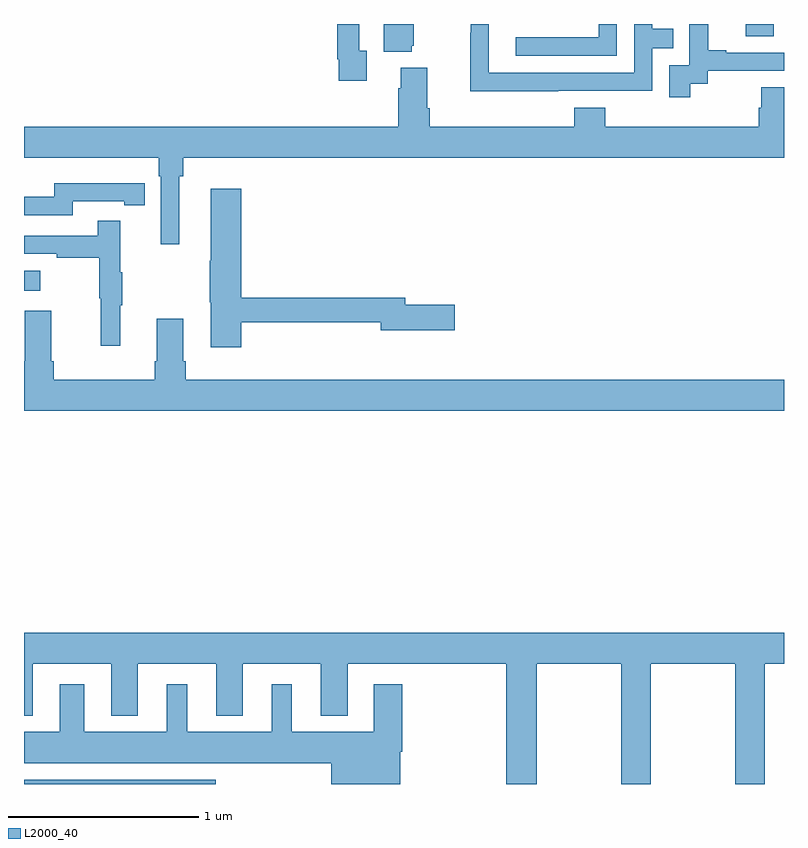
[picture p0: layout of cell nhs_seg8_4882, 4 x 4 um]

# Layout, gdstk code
import gdstk
lib = gdstk.Library(unit=1e-6, precision=1e-09)
def R(c, l, rs):  # rectangles x0, y0, x1, y1
    for r in rs: c.add(gdstk.rectangle(r[:2], r[2:], *l))
def P(c, l, *ps):  # polygons
    for p in ps: c.add(gdstk.Polygon(p, *l))
L2000_40 = (2000, 40)

nhs_seg8_4882 = lib.new_cell('nhs_seg8_4882')
R(nhs_seg8_4882, L2000_40, [(407,1083.9,408.01,1083.922), (407,1086.497,407.086,1086.601), (410.799,1087.836,410.946,1087.9)])
P(nhs_seg8_4882, L2000_40, [(408.805,1087.758),(408.765,1087.758),(408.765,1087.9),(408.649,1087.9),(408.649,1087.714),(408.657,1087.714),(408.657,1087.602),(408.805,1087.602)],
  [(410.121,1087.9),(410.025,1087.9),(410.025,1087.83),(409.587,1087.83),(409.587,1087.734),(410.121,1087.734)],
  [(409.04,1087.785),(409.051,1087.785),(409.051,1087.9),(408.893,1087.9),(408.893,1087.754),(409.04,1087.754)],
  [(409.811,1087.548),(410.307,1087.548),(410.307,1087.773),(410.417,1087.773),(410.417,1087.874),(410.307,1087.874),(410.307,1087.9),(410.211,1087.9),(410.211,1087.644),(409.446,1087.644),(409.446,1087.9),(409.35,1087.9),(409.35,1087.853),(409.348,1087.853),(409.348,1087.547),(409.811,1087.547)],
  [(410.506,1087.585),(410.598,1087.585),(410.598,1087.653),(411,1087.653),(411,1087.749),(410.695,1087.749),(410.695,1087.762),(410.6,1087.762),(410.6,1087.9),(410.502,1087.9),(410.502,1087.683),(410.397,1087.683),(410.397,1087.515),(410.506,1087.515)],
  [(407.818,1087.1),(407.837,1087.1),(407.837,1087.196),(411,1087.196),(411,1087.568),(410.879,1087.568),(410.879,1087.458),(410.867,1087.458),(410.867,1087.36),(410.06,1087.36),(410.06,1087.459),(409.895,1087.459),(409.895,1087.36),(409.136,1087.36),(409.136,1087.456),(409.123,1087.456),(409.123,1087.669),(408.983,1087.669),(408.983,1087.562),(408.971,1087.562),(408.971,1087.36),(407,1087.36),(407,1087.196),(407.708,1087.196),(407.708,1087.1),(407.721,1087.1),(407.721,1086.741),(407.818,1086.741)],
  [(407.256,1086.966),(407.528,1086.966),(407.528,1086.946),(407.636,1086.946),(407.636,1087.062),(407.528,1087.062),(407.528,1087.063),(407.16,1087.063),(407.16,1086.99),(407,1086.99),(407,1086.894),(407.256,1086.894)],
  [(408.143,1086.33),(408.878,1086.33),(408.878,1086.287),(409.267,1086.287),(409.267,1086.422),(409.006,1086.422),(409.006,1086.458),(408.143,1086.458),(408.143,1087.033),(407.984,1087.033),(407.984,1086.653),(407.977,1086.653),(407.977,1086.435),(407.984,1086.435),(407.984,1086.198),(408.143,1086.198)],
  [(407.507,1086.419),(407.518,1086.419),(407.518,1086.593),(407.507,1086.593),(407.507,1086.865),(407.389,1086.865),(407.389,1086.786),(407,1086.786),(407,1086.69),(407.173,1086.69),(407.173,1086.67),(407.397,1086.67),(407.397,1086.456),(407.404,1086.456),(407.404,1086.207),(407.507,1086.207)],
  [(407.699,1086.349),(407.699,1086.124),(407.687,1086.124),(407.687,1086.028),(407.156,1086.028),(407.156,1086.124),(407.143,1086.124),(407.143,1086.391),(407.003,1086.391),(407.003,1086.124),(407,1086.124),(407,1085.864),(411,1085.864),(411,1086.028),(407.852,1086.028),(407.852,1086.124),(407.839,1086.124),(407.839,1086.349)],
  [(410.898,1084.532),(411,1084.532),(411,1084.696),(407,1084.696),(407,1084.259),(407.047,1084.259),(407.047,1084.532),(407.459,1084.532),(407.459,1084.259),(407.599,1084.259),(407.599,1084.532),(408.011,1084.532),(408.011,1084.259),(408.151,1084.259),(408.151,1084.532),(408.563,1084.532),(408.563,1084.259),(408.703,1084.259),(408.703,1084.532),(409.538,1084.532),(409.538,1083.9),(409.698,1083.9),(409.698,1084.532),(410.143,1084.532),(410.143,1083.9),(410.298,1083.9),(410.298,1084.532),(410.743,1084.532),(410.743,1083.9),(410.898,1083.9)],
  [(408.979,1084.07),(408.992,1084.07),(408.992,1084.426),(408.842,1084.426),(408.842,1084.174),(408.409,1084.174),(408.409,1084.426),(408.305,1084.426),(408.305,1084.174),(407.86,1084.174),(407.86,1084.426),(407.75,1084.426),(407.75,1084.174),(407.317,1084.174),(407.317,1084.426),(407.189,1084.426),(407.189,1084.174),(407,1084.174),(407,1084.01),(408.617,1084.01),(408.617,1083.9),(408.979,1083.9)])

lib.write_gds('nhs_seg8_4882.gds')
